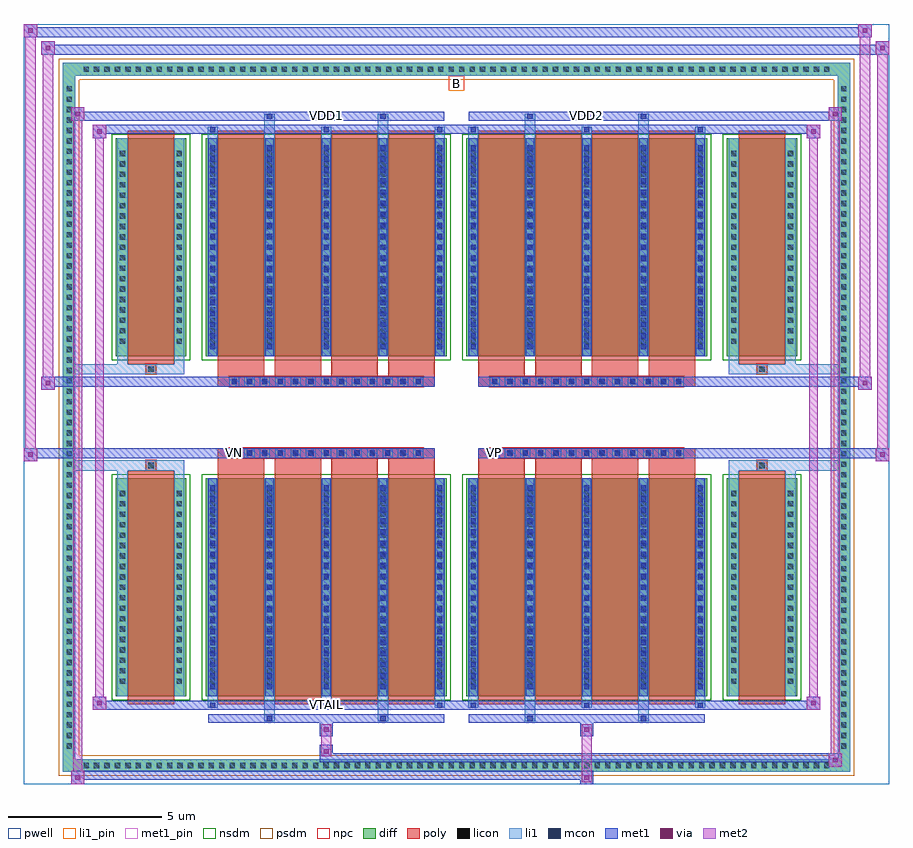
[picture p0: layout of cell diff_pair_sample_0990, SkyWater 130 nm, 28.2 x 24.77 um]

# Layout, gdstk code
import gdstk
lib = gdstk.Library(unit=1e-6, precision=5e-09)
def R(c, l, rs):  # rectangles x0, y0, x1, y1
    for r in rs: c.add(gdstk.rectangle(r[:2], r[2:], *l))
def A(c, l, x, y, w, h, nx, ny, dx, dy):  # array of equal rectangles
    R(c, l, [(x+i*dx, y+j*dy, x+i*dx+w, y+j*dy+h) for i in range(nx) for j in range(ny)])
def P(c, l, *ps):  # polygons
    for p in ps: c.add(gdstk.Polygon(p, *l))
pwell = (64, 44)
diff = (65, 20)
poly = (66, 20)
licon = (66, 44)
li1_pin = (67, 16)
li1 = (67, 20)
mcon = (67, 44)
met1_pin = (68, 16)
met1 = (68, 20)
via = (68, 44)
met2 = (69, 20)
nsdm = (93, 44)
psdm = (94, 20)
npc = (95, 20)

diff_pair_sample_0990 = lib.new_cell('diff_pair_sample_0990')
R(diff_pair_sample_0990, pwell, [(-14.1,-11.95,14.1,12.82), (-11.42,-10.14,-0.01,-0.8), (0.01,-10.14,11.42,-0.8), (-11.42,0.8,-0.01,10.14), (0.01,0.8,11.42,10.14)])
A(diff_pair_sample_0990, diff, -12.275, -11.55, 0.41, 0.41, 72, 2, 0.34, 22.69)
A(diff_pair_sample_0990, diff, -12.83, -10.915, 0.41, 0.41, 1, 64, 0, 0.34)
A(diff_pair_sample_0990, diff, 12.42, -10.915, 0.41, 0.41, 1, 64, 0, 0.34)
R(diff_pair_sample_0990, diff, [(-12.275,-11.55,12.275,-11.14), (-12.83,-10.915,-12.42,10.915), (12.42,-10.915,12.83,10.915), (-11.11,-9.095,-8.81,-1.985), (-8.17,-9.095,-0.32,-1.985), (0.32,-9.095,8.17,-1.985), (8.81,-9.095,11.11,-1.985), (-11.11,1.985,-8.81,9.095), (-8.17,1.985,-0.32,9.095), (0.32,1.985,8.17,9.095), (8.81,1.985,11.11,9.095), (-12.275,11.14,12.275,11.55)])
P(diff_pair_sample_0990, diff, [(12.83,11.55),(-12.83,11.55),(-12.83,-11.14),(-12.42,-11.14),(-12.42,11.14),(12.42,11.14),(12.42,-11.14),(-12.42,-11.14),(-12.83,-11.14),(-12.83,-11.55),(12.83,-11.55)])
A(diff_pair_sample_0990, poly, -7.78, -9.345, 1.52, 7.61, 4, 2, 1.85, 11.08)
A(diff_pair_sample_0990, poly, 0.71, -9.345, 1.52, 7.61, 4, 2, 1.85, 11.08)
A(diff_pair_sample_0990, poly, -7.78, -1.735, 1.52, 0.405, 4, 2, 1.85, 3.065)
A(diff_pair_sample_0990, poly, 0.71, -1.735, 1.52, 0.405, 4, 2, 1.85, 3.065)
A(diff_pair_sample_0990, poly, -7.41, -1.33, 0.33, 0.33, 13, 2, 0.5, 2.33)
A(diff_pair_sample_0990, poly, 1.08, -1.33, 0.33, 0.33, 13, 2, 0.5, 2.33)
R(diff_pair_sample_0990, poly, [(-10.72,-9.345,-9.2,-1.735), (9.2,-9.345,10.72,-1.735), (-10.125,-1.735,-9.795,-1.405), (-10.125,-1.735,-9.795,-1.405), (9.795,-1.735,10.125,-1.405), (9.795,-1.735,10.125,-1.405), (-7.78,-1.33,-0.71,-1), (0.71,-1.33,7.78,-1), (-7.78,1,-0.71,1.33), (0.71,1,7.78,1.33), (-10.125,1.405,-9.795,1.735), (-10.125,1.405,-9.795,1.735), (9.795,1.405,10.125,1.735), (9.795,1.405,10.125,1.735), (-10.72,1.735,-9.2,9.345), (9.2,1.735,10.72,9.345)])
A(diff_pair_sample_0990, licon, -12.155, -11.43, 0.17, 0.17, 72, 2, 0.34, 22.69)
A(diff_pair_sample_0990, licon, -12.71, -10.795, 0.17, 0.17, 1, 64, 0, 0.34)
A(diff_pair_sample_0990, licon, 12.54, -10.795, 0.17, 0.17, 1, 64, 0, 0.34)
A(diff_pair_sample_0990, licon, -10.97, -8.685, 0.17, 0.17, 1, 19, 0, 0.34)
A(diff_pair_sample_0990, licon, -9.12, -8.685, 0.17, 0.17, 1, 19, 0, 0.34)
A(diff_pair_sample_0990, licon, -8.03, -8.685, 0.17, 0.17, 5, 19, 1.85, 0.34)
A(diff_pair_sample_0990, licon, 0.46, -8.685, 0.17, 0.17, 5, 19, 1.85, 0.34)
A(diff_pair_sample_0990, licon, 8.95, -8.685, 0.17, 0.17, 1, 19, 0, 0.34)
A(diff_pair_sample_0990, licon, 10.8, -8.685, 0.17, 0.17, 1, 19, 0, 0.34)
A(diff_pair_sample_0990, licon, -7.33, -1.25, 0.17, 0.17, 13, 2, 0.5, 2.33)
A(diff_pair_sample_0990, licon, 1.16, -1.25, 0.17, 0.17, 13, 2, 0.5, 2.33)
A(diff_pair_sample_0990, licon, -10.97, 2.395, 0.17, 0.17, 1, 19, 0, 0.34)
A(diff_pair_sample_0990, licon, -9.12, 2.395, 0.17, 0.17, 1, 19, 0, 0.34)
A(diff_pair_sample_0990, licon, -8.03, 2.395, 0.17, 0.17, 5, 19, 1.85, 0.34)
A(diff_pair_sample_0990, licon, 0.46, 2.395, 0.17, 0.17, 5, 19, 1.85, 0.34)
A(diff_pair_sample_0990, licon, 8.95, 2.395, 0.17, 0.17, 1, 19, 0, 0.34)
A(diff_pair_sample_0990, licon, 10.8, 2.395, 0.17, 0.17, 1, 19, 0, 0.34)
R(diff_pair_sample_0990, licon, [(-10.045,-1.655,-9.875,-1.485), (9.875,-1.655,10.045,-1.485), (-10.045,1.485,-9.875,1.655), (9.875,1.485,10.045,1.655)])
R(diff_pair_sample_0990, li1_pin, [(-0.25,10.64,0.25,11.14)])
A(diff_pair_sample_0990, li1, -12.235, -11.51, 0.33, 0.33, 72, 2, 0.34, 22.69)
A(diff_pair_sample_0990, li1, -12.79, -10.875, 0.33, 0.33, 1, 64, 0, 0.34)
A(diff_pair_sample_0990, li1, 12.46, -10.875, 0.33, 0.33, 1, 64, 0, 0.34)
A(diff_pair_sample_0990, li1, -8.11, -9.47, 0.33, 0.375, 3, 2, 3.7, 18.565)
A(diff_pair_sample_0990, li1, -8.03, -9.47, 0.17, 0.17, 3, 2, 3.7, 18.77)
A(diff_pair_sample_0990, li1, 0.38, -9.47, 0.33, 0.375, 3, 2, 3.7, 18.565)
A(diff_pair_sample_0990, li1, 0.46, -9.47, 0.17, 0.17, 3, 2, 3.7, 18.77)
A(diff_pair_sample_0990, li1, -8.11, -9.095, 0.33, 7.11, 5, 2, 1.85, 11.08)
A(diff_pair_sample_0990, li1, 0.38, -9.095, 0.33, 7.11, 5, 2, 1.85, 11.08)
A(diff_pair_sample_0990, li1, -8.03, -8.865, 0.17, 0.17, 5, 19, 1.85, 0.36)
A(diff_pair_sample_0990, li1, -8.03, -8.865, 0.17, 6.65, 5, 2, 1.85, 11.08)
A(diff_pair_sample_0990, li1, 0.46, -8.865, 0.17, 0.17, 5, 19, 1.85, 0.36)
A(diff_pair_sample_0990, li1, 0.46, -8.865, 0.17, 6.65, 5, 2, 1.85, 11.08)
A(diff_pair_sample_0990, li1, -11.05, -8.765, 0.33, 0.33, 1, 19, 0, 0.34)
A(diff_pair_sample_0990, li1, -9.2, -8.765, 0.33, 0.33, 1, 19, 0, 0.34)
A(diff_pair_sample_0990, li1, -8.11, -8.765, 0.33, 0.33, 5, 19, 1.85, 0.34)
A(diff_pair_sample_0990, li1, 0.38, -8.765, 0.33, 0.33, 5, 19, 1.85, 0.34)
A(diff_pair_sample_0990, li1, 8.87, -8.765, 0.33, 0.33, 1, 19, 0, 0.34)
A(diff_pair_sample_0990, li1, 10.72, -8.765, 0.33, 0.33, 1, 19, 0, 0.34)
A(diff_pair_sample_0990, li1, -7.41, -1.33, 0.33, 0.33, 13, 2, 0.5, 2.33)
A(diff_pair_sample_0990, li1, 1.08, -1.33, 0.33, 0.33, 13, 2, 0.5, 2.33)
A(diff_pair_sample_0990, li1, -8.03, 2.215, 0.17, 0.17, 5, 19, 1.85, 0.36)
A(diff_pair_sample_0990, li1, 0.46, 2.215, 0.17, 0.17, 5, 19, 1.85, 0.36)
A(diff_pair_sample_0990, li1, -11.05, 2.315, 0.33, 0.33, 1, 19, 0, 0.34)
A(diff_pair_sample_0990, li1, -9.2, 2.315, 0.33, 0.33, 1, 19, 0, 0.34)
A(diff_pair_sample_0990, li1, -8.11, 2.315, 0.33, 0.33, 5, 19, 1.85, 0.34)
A(diff_pair_sample_0990, li1, 0.38, 2.315, 0.33, 0.33, 5, 19, 1.85, 0.34)
A(diff_pair_sample_0990, li1, 8.87, 2.315, 0.33, 0.33, 1, 19, 0, 0.34)
A(diff_pair_sample_0990, li1, 10.72, 2.315, 0.33, 0.33, 1, 19, 0, 0.34)
R(diff_pair_sample_0990, li1, [(-12.83,-11.55,-12.42,-11.14), (-12.83,-11.55,-12.42,-11.14), (-12.42,-11.55,12.42,-11.14), (12.42,-11.55,12.83,-11.14), (12.42,-11.55,12.83,-11.14), (-12.83,-11.14,-12.42,11.14), (12.42,-11.14,12.83,11.14), (-6.26,-9.9,-5.93,-9.095), (-6.18,-9.9,-6.01,-9.73), (-2.56,-9.9,-2.23,-9.095), (-2.48,-9.9,-2.31,-9.73), (2.23,-9.9,2.56,-9.095), (2.31,-9.9,2.48,-9.73), (5.93,-9.9,6.26,-9.095), (6.01,-9.9,6.18,-9.73), (-11.05,-9.095,-10.72,-1.985), (-9.2,-9.095,-8.87,-1.985), (8.87,-9.095,9.2,-1.985), (10.72,-9.095,11.05,-1.985), (-11.05,-1.985,-10.72,-1.405), (-9.2,-1.985,-8.87,-1.405), (8.87,-1.985,9.2,-1.405), (10.72,-1.985,11.05,-1.405), (-12.83,-1.735,-10.125,-1.405), (-11.05,-1.735,-10.125,-1.405), (-10.125,-1.735,-9.795,-1.405), (-9.795,-1.735,-8.87,-1.405), (8.87,-1.735,9.795,-1.405), (9.795,-1.735,10.125,-1.405), (9.795,-1.735,12.83,-1.405), (10.125,-1.735,11.05,-1.405), (-12.83,1.405,-10.125,1.735), (-11.05,1.405,-10.125,1.735), (-11.05,1.405,-10.72,1.985), (-10.125,1.405,-9.795,1.735), (-9.795,1.405,-8.87,1.735), (-9.2,1.405,-8.87,1.985), (8.87,1.405,9.795,1.735), (8.87,1.405,9.2,1.985), (9.795,1.405,10.125,1.735), (9.795,1.405,12.83,1.735), (10.125,1.405,11.05,1.735), (10.72,1.405,11.05,1.985), (-11.05,1.985,-10.72,9.095), (-9.2,1.985,-8.87,9.095), (8.87,1.985,9.2,9.095), (10.72,1.985,11.05,9.095), (-6.26,9.095,-5.93,9.9), (-2.56,9.095,-2.23,9.9), (2.23,9.095,2.56,9.9), (5.93,9.095,6.26,9.9), (-6.18,9.73,-6.01,9.9), (-2.48,9.73,-2.31,9.9), (2.31,9.73,2.48,9.9), (6.01,9.73,6.18,9.9), (-12.83,11.14,-12.42,11.55), (-12.83,11.14,-12.42,11.55), (-12.42,11.14,12.42,11.55), (12.42,11.14,12.83,11.55), (12.42,11.14,12.83,11.55)])
A(diff_pair_sample_0990, mcon, -8.03, -9.47, 0.17, 0.17, 3, 2, 3.7, 18.77)
A(diff_pair_sample_0990, mcon, 0.46, -9.47, 0.17, 0.17, 3, 2, 3.7, 18.77)
A(diff_pair_sample_0990, mcon, -8.03, -8.865, 0.17, 0.17, 5, 19, 1.85, 0.36)
A(diff_pair_sample_0990, mcon, 0.46, -8.865, 0.17, 0.17, 5, 19, 1.85, 0.36)
A(diff_pair_sample_0990, mcon, -7.33, -1.25, 0.17, 0.17, 13, 2, 0.5, 2.33)
A(diff_pair_sample_0990, mcon, 1.16, -1.25, 0.17, 0.17, 13, 2, 0.5, 2.33)
A(diff_pair_sample_0990, mcon, -8.03, 2.215, 0.17, 0.17, 5, 19, 1.85, 0.36)
A(diff_pair_sample_0990, mcon, 0.46, 2.215, 0.17, 0.17, 5, 19, 1.85, 0.36)
R(diff_pair_sample_0990, mcon, [(-6.18,-9.9,-6.01,-9.73), (-2.48,-9.9,-2.31,-9.73), (2.31,-9.9,2.48,-9.73), (6.01,-9.9,6.18,-9.73), (-6.18,9.73,-6.01,9.9), (-2.48,9.73,-2.31,9.9), (2.31,9.73,2.48,9.9), (6.01,9.73,6.18,9.9)])
R(diff_pair_sample_0990, met1_pin, [(-4.38,-9.51,-4.11,-9.24), (-7.38,-1.29,-7.11,-1.02), (1.11,-1.29,1.38,-1.02), (-4.38,9.69,-4.11,9.96), (4.11,9.69,4.38,9.96)])
A(diff_pair_sample_0990, met1, -8.09, -9.53, 0.29, 0.29, 3, 2, 3.7, 18.77)
A(diff_pair_sample_0990, met1, 0.4, -9.53, 0.29, 0.29, 3, 2, 3.7, 18.77)
A(diff_pair_sample_0990, met1, -8.09, -9.095, 0.29, 7.11, 5, 2, 1.85, 11.08)
A(diff_pair_sample_0990, met1, 0.4, -9.095, 0.29, 7.11, 5, 2, 1.85, 11.08)
A(diff_pair_sample_0990, met1, -8.09, -8.925, 0.29, 0.29, 5, 19, 1.85, 0.36)
A(diff_pair_sample_0990, met1, 0.4, -8.925, 0.29, 0.29, 5, 19, 1.85, 0.36)
A(diff_pair_sample_0990, met1, -7.39, -1.31, 0.29, 0.29, 13, 2, 0.5, 2.33)
A(diff_pair_sample_0990, met1, 1.1, -1.31, 0.29, 0.29, 13, 2, 0.5, 2.33)
A(diff_pair_sample_0990, met1, -8.09, 2.155, 0.29, 0.29, 5, 19, 1.85, 0.36)
A(diff_pair_sample_0990, met1, 0.4, 2.155, 0.29, 0.29, 5, 19, 1.85, 0.36)
R(diff_pair_sample_0990, met1, [(-12.56,-11.95,-12.13,-11.52), (4.03,-11.95,4.46,-11.52), (-12.56,-11.81,4.46,-11.52), (12.13,-11.38,12.56,-10.95), (-4.46,-11.24,12.56,-10.95), (-4.46,-11.1,-4.03,-10.67), (-4.46,-10.39,-4.03,-9.96), (4.03,-10.39,4.46,-9.96), (-8.09,-9.96,-0.4,-9.67), (-6.24,-9.96,-5.95,-9.67), (-2.54,-9.96,-2.25,-9.67), (0.4,-9.96,8.09,-9.67), (2.25,-9.96,2.54,-9.67), (5.95,-9.96,6.24,-9.67), (-11.85,-9.53,-11.42,-9.1), (-11.85,-9.53,-8.09,-9.24), (-8.09,-9.53,-0.4,-9.24), (-0.4,-9.53,0.4,-9.24), (0.4,-9.53,8.09,-9.24), (8.09,-9.53,11.85,-9.24), (11.42,-9.53,11.85,-9.1), (-14.1,-1.43,-13.67,-1), (13.67,-1.43,14.1,-1), (-14.1,-1.33,-0.71,-1), (-7.78,-1.33,-0.71,-1), (0.71,-1.33,7.78,-1), (0.71,-1.33,14.1,-1), (-13.53,0.9,-13.1,1.33), (13.1,0.9,13.53,1.33), (-13.53,1,-7.78,1.33), (-7.78,1,-0.71,1.33), (0.71,1,7.78,1.33), (7.78,1,13.53,1.33), (-11.85,9.1,-11.42,9.53), (11.42,9.1,11.85,9.53), (-11.85,9.24,-8.09,9.53), (-8.09,9.24,-0.4,9.53), (-0.4,9.24,0.4,9.53), (0.4,9.24,8.09,9.53), (8.09,9.24,11.85,9.53), (-12.56,9.67,-12.13,10.1), (-12.56,9.67,-8.09,9.96), (-8.09,9.67,-0.4,9.96), (-6.24,9.67,-5.95,9.96), (-2.54,9.67,-2.25,9.96), (0.4,9.67,8.09,9.96), (2.25,9.67,2.54,9.96), (5.95,9.67,6.24,9.96), (8.09,9.67,12.56,9.96), (12.13,9.67,12.56,10.1), (-13.53,11.82,-13.1,12.25), (-13.53,11.82,-11.42,12.15), (-11.42,11.82,11.42,12.15), (11.42,11.82,14.1,12.15), (13.67,11.82,14.1,12.25), (-14.1,12.39,-13.67,12.82), (-14.1,12.39,-11.42,12.72), (-11.42,12.39,11.42,12.72), (11.42,12.39,13.53,12.72), (13.1,12.39,13.53,12.82)])
R(diff_pair_sample_0990, via, [(-12.42,-11.81,-12.27,-11.66), (4.17,-11.81,4.32,-11.66), (12.27,-11.24,12.42,-11.09), (-4.32,-10.96,-4.17,-10.81), (-4.32,-10.25,-4.17,-10.1), (4.17,-10.25,4.32,-10.1), (-11.71,-9.39,-11.56,-9.24), (11.56,-9.39,11.71,-9.24), (-13.96,-1.29,-13.81,-1.14), (13.81,-1.29,13.96,-1.14), (-13.39,1.04,-13.24,1.19), (13.24,1.04,13.39,1.19), (-11.71,9.24,-11.56,9.39), (11.56,9.24,11.71,9.39), (-12.42,9.81,-12.27,9.96), (12.27,9.81,12.42,9.96), (-13.39,11.96,-13.24,12.11), (13.81,11.96,13.96,12.11), (-13.96,12.53,-13.81,12.68), (13.24,12.53,13.39,12.68)])
R(diff_pair_sample_0990, met2, [(-12.56,-11.95,-12.13,-11.52), (-12.49,-11.95,-12.2,10.1), (-12.2,-11.95,-12.13,-11.52), (-12.51,-11.9,-12.18,-11.57), (4.08,-11.9,4.41,-11.57), (4.08,-11.57,4.41,-10.34), (12.13,-11.38,12.56,-10.95), (12.2,-11.38,12.49,10.1), (12.49,-11.38,12.56,-10.95), (12.18,-11.33,12.51,-11), (-4.41,-11.05,-4.08,-10.72), (-4.41,-10.72,-4.08,-10.34), (-4.41,-10.34,-4.08,-10.01), (4.08,-10.34,4.41,-10.01), (-11.85,-9.53,-11.42,-9.1), (-11.78,-9.53,-11.49,9.53), (-11.49,-9.53,-11.42,-9.1), (11.42,-9.53,11.85,-9.1), (11.49,-9.53,11.78,9.53), (11.78,-9.53,11.85,-9.1), (-11.8,-9.48,-11.47,-9.15), (11.47,-9.48,11.8,-9.15), (-14.1,-1.43,-13.67,-1), (-14.05,-1.43,-13.72,12.82), (-13.72,-1.43,-13.67,-1), (13.67,-1.43,14.1,-1), (13.72,-1.43,14.05,12.25), (14.05,-1.43,14.1,-1), (-14.05,-1.38,-13.72,-1.05), (13.72,-1.38,14.05,-1.05), (-13.53,0.9,-13.1,1.33), (-13.48,0.9,-13.15,12.25), (-13.15,0.9,-13.1,1.33), (13.1,0.9,13.53,1.33), (13.15,0.9,13.48,12.82), (13.48,0.9,13.53,1.33), (-13.48,0.95,-13.15,1.28), (13.15,0.95,13.48,1.28), (-11.85,9.1,-11.42,9.53), (-11.49,9.1,-11.42,9.53), (11.42,9.1,11.85,9.53), (11.78,9.1,11.85,9.53), (-11.8,9.15,-11.47,9.48), (11.47,9.15,11.8,9.48), (-12.56,9.67,-12.13,10.1), (-12.2,9.67,-12.13,10.1), (12.13,9.67,12.56,10.1), (12.49,9.67,12.56,10.1), (-12.51,9.72,-12.18,10.05), (12.18,9.72,12.51,10.05), (-13.53,11.82,-13.1,12.25), (-13.15,11.82,-13.1,12.25), (13.67,11.82,14.1,12.25), (14.05,11.82,14.1,12.25), (-13.48,11.87,-13.15,12.2), (13.72,11.87,14.05,12.2), (-14.1,12.39,-13.67,12.82), (-13.72,12.39,-13.67,12.82), (13.1,12.39,13.53,12.82), (13.48,12.39,13.53,12.82), (-14.05,12.44,-13.72,12.77), (13.15,12.44,13.48,12.77)])
R(diff_pair_sample_0990, nsdm, [(-11.24,-9.225,-8.68,-1.855), (-8.3,-9.225,-0.19,-1.855), (0.19,-9.225,8.3,-1.855), (8.68,-9.225,11.24,-1.855), (-11.24,1.855,-8.68,9.225), (-8.3,1.855,-0.19,9.225), (0.19,1.855,8.3,9.225), (8.68,1.855,11.24,9.225)])
P(diff_pair_sample_0990, psdm, [(12.96,11.68),(-12.96,11.68),(-12.96,-11.01),(-12.29,-11.01),(-12.29,11.01),(12.29,11.01),(12.29,-11.01),(-12.29,-11.01),(-12.96,-11.01),(-12.96,-11.68),(12.96,-11.68)])
A(diff_pair_sample_0990, npc, -7.43, -1.35, 0.37, 0.37, 13, 2, 0.5, 2.33)
A(diff_pair_sample_0990, npc, 1.06, -1.35, 0.37, 0.37, 13, 2, 0.5, 2.33)
R(diff_pair_sample_0990, npc, [(-10.145,-1.755,-9.775,-1.385), (9.775,-1.755,10.145,-1.385), (-7.43,-1.35,-6.56,-0.98), (-7.43,-1.35,-6.56,-0.98), (-6.93,-1.35,-6.06,-0.98), (-6.93,-1.35,-6.06,-0.98), (-6.43,-1.35,-5.56,-0.98), (-6.43,-1.35,-5.56,-0.98), (-5.93,-1.35,-5.06,-0.98), (-5.93,-1.35,-5.06,-0.98), (-5.43,-1.35,-4.56,-0.98), (-5.43,-1.35,-4.56,-0.98), (-4.93,-1.35,-4.06,-0.98), (-4.93,-1.35,-4.06,-0.98), (-4.43,-1.35,-3.56,-0.98), (-4.43,-1.35,-3.56,-0.98), (-3.93,-1.35,-3.06,-0.98), (-3.93,-1.35,-3.06,-0.98), (-3.43,-1.35,-2.56,-0.98), (-3.43,-1.35,-2.56,-0.98), (-2.93,-1.35,-2.06,-0.98), (-2.93,-1.35,-2.06,-0.98), (-2.43,-1.35,-1.56,-0.98), (-2.43,-1.35,-1.56,-0.98), (-1.93,-1.35,-1.06,-0.98), (-1.93,-1.35,-1.06,-0.98), (1.06,-1.35,1.93,-0.98), (1.06,-1.35,1.93,-0.98), (1.56,-1.35,2.43,-0.98), (1.56,-1.35,2.43,-0.98), (2.06,-1.35,2.93,-0.98), (2.06,-1.35,2.93,-0.98), (2.56,-1.35,3.43,-0.98), (2.56,-1.35,3.43,-0.98), (3.06,-1.35,3.93,-0.98), (3.06,-1.35,3.93,-0.98), (3.56,-1.35,4.43,-0.98), (3.56,-1.35,4.43,-0.98), (4.06,-1.35,4.93,-0.98), (4.06,-1.35,4.93,-0.98), (4.56,-1.35,5.43,-0.98), (4.56,-1.35,5.43,-0.98), (5.06,-1.35,5.93,-0.98), (5.06,-1.35,5.93,-0.98), (5.56,-1.35,6.43,-0.98), (5.56,-1.35,6.43,-0.98), (6.06,-1.35,6.93,-0.98), (6.06,-1.35,6.93,-0.98), (6.56,-1.35,7.43,-0.98), (6.56,-1.35,7.43,-0.98), (-7.43,0.98,-6.56,1.35), (-7.43,0.98,-6.56,1.35), (-6.93,0.98,-6.06,1.35), (-6.93,0.98,-6.06,1.35), (-6.43,0.98,-5.56,1.35), (-6.43,0.98,-5.56,1.35), (-5.93,0.98,-5.06,1.35), (-5.93,0.98,-5.06,1.35), (-5.43,0.98,-4.56,1.35), (-5.43,0.98,-4.56,1.35), (-4.93,0.98,-4.06,1.35), (-4.93,0.98,-4.06,1.35), (-4.43,0.98,-3.56,1.35), (-4.43,0.98,-3.56,1.35), (-3.93,0.98,-3.06,1.35), (-3.93,0.98,-3.06,1.35), (-3.43,0.98,-2.56,1.35), (-3.43,0.98,-2.56,1.35), (-2.93,0.98,-2.06,1.35), (-2.93,0.98,-2.06,1.35), (-2.43,0.98,-1.56,1.35), (-2.43,0.98,-1.56,1.35), (-1.93,0.98,-1.06,1.35), (-1.93,0.98,-1.06,1.35), (1.06,0.98,1.93,1.35), (1.06,0.98,1.93,1.35), (1.56,0.98,2.43,1.35), (1.56,0.98,2.43,1.35), (2.06,0.98,2.93,1.35), (2.06,0.98,2.93,1.35), (2.56,0.98,3.43,1.35), (2.56,0.98,3.43,1.35), (3.06,0.98,3.93,1.35), (3.06,0.98,3.93,1.35), (3.56,0.98,4.43,1.35), (3.56,0.98,4.43,1.35), (4.06,0.98,4.93,1.35), (4.06,0.98,4.93,1.35), (4.56,0.98,5.43,1.35), (4.56,0.98,5.43,1.35), (5.06,0.98,5.93,1.35), (5.06,0.98,5.93,1.35), (5.56,0.98,6.43,1.35), (5.56,0.98,6.43,1.35), (6.06,0.98,6.93,1.35), (6.06,0.98,6.93,1.35), (6.56,0.98,7.43,1.35), (6.56,0.98,7.43,1.35), (-10.145,1.385,-9.775,1.755), (9.775,1.385,10.145,1.755)])
diff_pair_sample_0990.add(gdstk.Label('VTAIL', (-4.245,-9.375), layer=68, texttype=5))
diff_pair_sample_0990.add(gdstk.Label('VN', (-7.245,-1.155), layer=68, texttype=5))
diff_pair_sample_0990.add(gdstk.Label('VP', (1.245,-1.155), layer=68, texttype=5))
diff_pair_sample_0990.add(gdstk.Label('B', (0,10.89), layer=67, texttype=5))
diff_pair_sample_0990.add(gdstk.Label('VDD2', (4.245,9.825), layer=68, texttype=5))
diff_pair_sample_0990.add(gdstk.Label('VDD1', (-4.245,9.825), layer=68, texttype=5))

lib.write_gds('diff_pair_sample_0990.gds')
